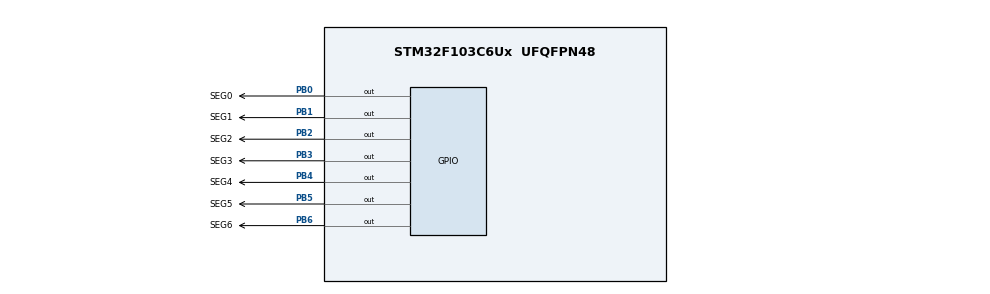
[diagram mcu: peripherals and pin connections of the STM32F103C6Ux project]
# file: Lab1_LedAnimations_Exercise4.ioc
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Mcu.Family=STM32F1
Mcu.Name=STM32F103C6Ux
Mcu.Package=UFQFPN48
NVIC.PriorityGroup=NVIC_PRIORITYGROUP_4
PB0.GPIO_Label=SEG0
PB0.Signal=GPIO_Output
PB1.GPIO_Label=SEG1
PB1.Signal=GPIO_Output
PB2.GPIO_Label=SEG2
PB2.Signal=GPIO_Output
PB3.GPIO_Label=SEG3
PB3.Signal=GPIO_Output
PB4.GPIO_Label=SEG4
PB4.Signal=GPIO_Output
PB5.GPIO_Label=SEG5
PB5.Signal=GPIO_Output
PB6.GPIO_Label=SEG6
PB6.Signal=GPIO_Output
ProjectManager.HeapSize=0x200
ProjectManager.StackSize=0x400
ProjectManager.TargetToolchain=STM32CubeIDE
RCC.APB1Freq_Value=8000000
RCC.APB2Freq_Value=8000000
VP_SYS_VS_ND.Mode=No_Debug
board=custom

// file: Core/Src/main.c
/* USER CODE BEGIN Header */
/**
  ******************************************************************************
  * @file           : main.c
  * @brief          : Main program body
  ******************************************************************************
  * @attention
  *
  * <h2><center>&copy; Copyright (c) 2022 STMicroelectronics.
  * All rights reserved.</center></h2>
  *
  * This software component is licensed by ST under BSD 3-Clause license,
  * the "License"; You may not use this file except in compliance with the
  * License. You may obtain a copy of the License at:
  *                        opensource.org/licenses/BSD-3-Clause
  *
  ******************************************************************************
  */
/* USER CODE END Header */
#include "main.h"

void SystemClock_Config(void);
static void MX_GPIO_Init(void);

/* USER CODE BEGIN 0 */
void display7SEG(int num){
	//outputs: SEG7 -> SEG0
	//outputs with value of 0 (RESET) will be turn on
	//outputs with value of 1 (SET) will be turn off
	if (num == 0){ //100 0000
		HAL_GPIO_WritePin(GPIOB, SEG0_Pin|SEG1_Pin|SEG2_Pin
								|SEG3_Pin|SEG4_Pin|SEG5_Pin, GPIO_PIN_RESET);
		HAL_GPIO_WritePin(GPIOB, SEG6_Pin, GPIO_PIN_SET);
	}
	else if (num == 1){ //111 1001
		HAL_GPIO_WritePin(GPIOB, SEG1_Pin|SEG2_Pin, GPIO_PIN_RESET);
		HAL_GPIO_WritePin(GPIOB, SEG0_Pin|SEG3_Pin|SEG4_Pin
								|SEG5_Pin|SEG6_Pin, GPIO_PIN_SET);
	}
	else if (num == 2){ //010 0100
		HAL_GPIO_WritePin(GPIOB, SEG0_Pin|SEG1_Pin|SEG3_Pin
								|SEG4_Pin|SEG6_Pin, GPIO_PIN_RESET);
		HAL_GPIO_WritePin(GPIOB, SEG2_Pin|SEG5_Pin, GPIO_PIN_SET);
	}
	else if (num == 3){ //011 0000
		HAL_GPIO_WritePin(GPIOB, SEG0_Pin|SEG1_Pin|SEG2_Pin
								|SEG3_Pin|SEG6_Pin, GPIO_PIN_RESET);
		HAL_GPIO_WritePin(GPIOB, SEG4_Pin|SEG5_Pin, GPIO_PIN_SET);
	}
	else if (num == 4){ //001 1001
		HAL_GPIO_WritePin(GPIOB, SEG1_Pin|SEG2_Pin|SEG5_Pin
								|SEG6_Pin, GPIO_PIN_RESET);
		HAL_GPIO_WritePin(GPIOB, SEG0_Pin|SEG3_Pin|SEG4_Pin, GPIO_PIN_SET);
	}
	else if (num == 5){ //001 0010
		HAL_GPIO_WritePin(GPIOB, SEG0_Pin|SEG2_Pin|SEG3_Pin
								|SEG5_Pin|SEG6_Pin, GPIO_PIN_RESET);
		HAL_GPIO_WritePin(GPIOB, SEG1_Pin|SEG4_Pin, GPIO_PIN_SET);
	}
	else if (num == 6){ //000 0010
		HAL_GPIO_WritePin(GPIOB, SEG0_Pin|SEG2_Pin|SEG3_Pin
								|SEG4_Pin|SEG5_Pin|SEG6_Pin, GPIO_PIN_RESET);
		HAL_GPIO_WritePin(GPIOB, SEG1_Pin, GPIO_PIN_SET);
	}
	else if (num == 7){ //111 1000
		HAL_GPIO_WritePin(GPIOB, SEG0_Pin|SEG1_Pin|SEG2_Pin, GPIO_PIN_RESET);
		HAL_GPIO_WritePin(GPIOB, SEG3_Pin|SEG4_Pin|SEG5_Pin
								|SEG6_Pin, GPIO_PIN_SET);
	}
	else if (num == 8){ //000 0000
		HAL_GPIO_WritePin(GPIOB, SEG0_Pin|SEG1_Pin|SEG2_Pin
								|SEG3_Pin|SEG4_Pin|SEG5_Pin
								|SEG6_Pin, GPIO_PIN_RESET);
	}
	else if (num == 9){ //001 0000
		HAL_GPIO_WritePin(GPIOB, SEG0_Pin|SEG1_Pin|SEG2_Pin
								|SEG3_Pin|SEG5_Pin|SEG6_Pin, GPIO_PIN_RESET);
		HAL_GPIO_WritePin(GPIOB, SEG4_Pin, GPIO_PIN_SET);
	}
}
/* USER CODE END 0 */

int main(void)
{

  /* MCU Configuration--------------------------------------------------------*/

  /* Reset of all peripherals, Initializes the Flash interface and the Systick. */
  HAL_Init();

  /* Configure the system clock */
  SystemClock_Config();

  /* Initialize all configured peripherals */
  MX_GPIO_Init();
  /* USER CODE BEGIN 2 */
  int counter = 0;
  /* USER CODE END 2 */

  /* Infinite loop */
  /* USER CODE BEGIN WHILE */
  while (1)
  {
	  if (counter >= 10) counter = 0;
	  display7SEG(counter++);
	  HAL_Delay(1000);
    /* USER CODE END WHILE */

  }
}

void SystemClock_Config(void)
{
  RCC_OscInitTypeDef RCC_OscInitStruct = {0};
  RCC_ClkInitTypeDef RCC_ClkInitStruct = {0};

  /** Initializes the RCC Oscillators according to the specified parameters
  * in the RCC_OscInitTypeDef structure.
  */
  RCC_OscInitStruct.OscillatorType = RCC_OSCILLATORTYPE_HSI;
  RCC_OscInitStruct.HSIState = RCC_HSI_ON;
  RCC_OscInitStruct.HSICalibrationValue = RCC_HSICALIBRATION_DEFAULT;
  RCC_OscInitStruct.PLL.PLLState = RCC_PLL_NONE;
  if (HAL_RCC_OscConfig(&RCC_OscInitStruct) != HAL_OK)
  {
    Error_Handler();
  }
  /** Initializes the CPU, AHB and APB buses clocks
  */
  RCC_ClkInitStruct.ClockType = RCC_CLOCKTYPE_HCLK|RCC_CLOCKTYPE_SYSCLK
                              |RCC_CLOCKTYPE_PCLK1|RCC_CLOCKTYPE_PCLK2;
  RCC_ClkInitStruct.SYSCLKSource = RCC_SYSCLKSOURCE_HSI;
  RCC_ClkInitStruct.AHBCLKDivider = RCC_SYSCLK_DIV1;
  RCC_ClkInitStruct.APB1CLKDivider = RCC_HCLK_DIV1;
  RCC_ClkInitStruct.APB2CLKDivider = RCC_HCLK_DIV1;

  if (HAL_RCC_ClockConfig(&RCC_ClkInitStruct, FLASH_LATENCY_0) != HAL_OK)
  {
    Error_Handler();
  }
}

static void MX_GPIO_Init(void)
{
  GPIO_InitTypeDef GPIO_InitStruct = {0};

  /* GPIO Ports Clock Enable */
  __HAL_RCC_GPIOB_CLK_ENABLE();

  /*Configure GPIO pin Output Level */
  HAL_GPIO_WritePin(GPIOB, SEG0_Pin|SEG1_Pin|SEG2_Pin|SEG3_Pin
                          |SEG4_Pin|SEG5_Pin|SEG6_Pin, GPIO_PIN_RESET);

  /*Configure GPIO pins : SEG0_Pin SEG1_Pin SEG2_Pin SEG3_Pin
                           SEG4_Pin SEG5_Pin SEG6_Pin */
  GPIO_InitStruct.Pin = SEG0_Pin|SEG1_Pin|SEG2_Pin|SEG3_Pin
                          |SEG4_Pin|SEG5_Pin|SEG6_Pin;
  GPIO_InitStruct.Mode = GPIO_MODE_OUTPUT_PP;
  GPIO_InitStruct.Pull = GPIO_NOPULL;
  GPIO_InitStruct.Speed = GPIO_SPEED_FREQ_LOW;
  HAL_GPIO_Init(GPIOB, &GPIO_InitStruct);

}

void Error_Handler(void)
{
  __disable_irq();
  while (1)
  {
  }
}

/************************ (C) COPYRIGHT STMicroelectronics *****END OF FILE****/
